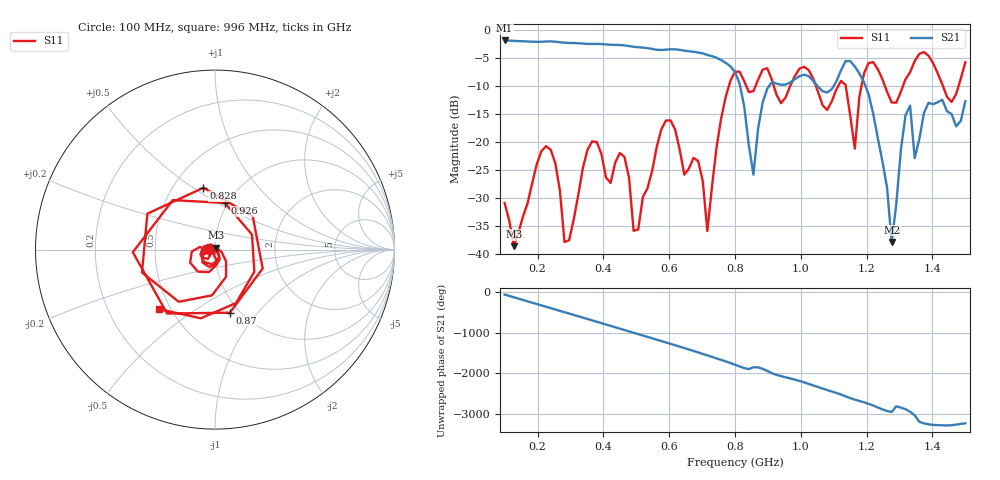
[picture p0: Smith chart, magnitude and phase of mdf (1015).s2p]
! NanoVNA-App
! Date: 2025-09-25 15:46:19
! Start: 100MHz Stop: 1,5GHz Points: 101
! S-Parameter data: F S11 S21 S12 S22
# Hz S RI R 50
!  Frequency  S11_Real  S11_Imag  S21_Real  S21_Imag  S12_Real  S12_Imag  S22_Real  S22_Imag
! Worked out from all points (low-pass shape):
!   101 points, 100 MHz to 1.5 GHz, reference 50 ohm
!   highest |S21| = -1.81 dB at 100 MHz (marker M1); lowest = -37.9 dB at 1.276 GHz (marker M2)
!   |S21| within 3 dB of the highest: start of sweep to 739.3 MHz
!   lowest |S11| = -38.6 dB at 128 MHz (marker M3), VSWR 1.02, Z = 50.4 + j1.1 ohm
!   |S11| at or under -10 dB: start of sweep to 781.1 MHz; 1.046 GHz to 1.113 GHz (67.26 MHz wide, 6.23 % of centre); 1.256 GHz to 1.31 GHz (54.4 MHz wide, 4.24 % of centre) (the widest 3 of 7)
!   S12 and S22 are empty: the file has one direction only
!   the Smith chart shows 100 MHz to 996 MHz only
!   S11 on the Smith chart (normalised r, x): 100 MHz: 0.95, -0.01; 828 MHz: 0.70, +0.55; 870 MHz: 0.90, -0.73; 926 MHz: 0.97, +0.54; 996 MHz: 0.43, -0.36
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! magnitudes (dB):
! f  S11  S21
! 100 MHz  -30.9  -1.8
! 128 MHz  -38.6  -1.9
! 212 MHz  -21.6  -2.0
! 282 MHz  -37.9  -2.2
! 338 MHz  -24.6  -2.4
! 464 MHz  -22.7  -2.7
! 506 MHz  -35.6  -3.0
! 576 MHz  -17.7  -3.5
! 716 MHz  -35.9  -4.4
! 800 MHz  -7.4  -7.4
! 828 MHz  -9.1  -13.6
! 856 MHz  -10.9  -25.8
! 870 MHz  -8.8  -17.7
! 926 MHz  -11.5  -9.5
! 996 MHz  -6.8  -8.2
! 1.038 GHz  -8.7  -9.1
! 1.164 GHz  -21.2  -6.5
! 1.192 GHz  -7.7  -9.3
! 1.276 GHz  -12.9  -37.9
! 1.332 GHz  -7.5  -13.5
! 1.346 GHz  -5.5  -22.9
! 1.5 GHz  -5.7  -12.7
